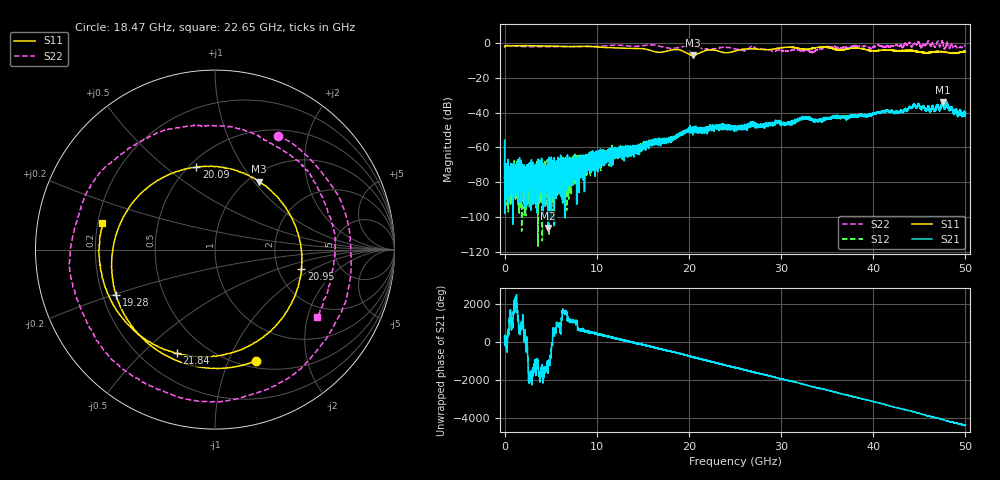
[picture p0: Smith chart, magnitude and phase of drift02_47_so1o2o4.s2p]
!Created with skrf (http://scikit-rf.org).
# Hz S RI R 50.0
!freq ReS11 ImS11 ReS21 ImS21 ReS12 ImS12 ReS22 ImS22
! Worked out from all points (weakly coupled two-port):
!   10001 points, 300 kHz to 50 GHz, reference 50 ohm
!   highest |S21| = -33.74 dB at 47.54 GHz (marker M1); lowest = -106.4 dB at 4.74 GHz (marker M2)
!   lowest |S11| = -6.9 dB at 20.42 GHz (marker M3), VSWR 2.64, Z = 55.8 + j53 ohm
!   |S11| at or under -10 dB: nowhere
!   |S22| runs from -5.3 to 1.6 dB; largest |S21 - S12| = 0.0035
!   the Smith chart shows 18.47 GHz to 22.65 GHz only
!   S11 on the Smith chart (normalised r, x): 18.47 GHz: 0.58, -1.26; 19.28 GHz: 0.26, -0.21; 20.09 GHz: 0.54, +0.64; 20.95 GHz: 2.69, -0.77; 21.84 GHz: 0.35, -0.64; 22.65 GHz: 0.22, +0.11
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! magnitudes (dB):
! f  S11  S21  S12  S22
! 300 kHz  -2.1  -55.9  -67.9  -1.3
! 255.3 MHz  -1.4  -69.9  -81.5  -1.4
! 4.095 GHz  -1.6  -85.2  -67.0  -1.9
! 4.495 GHz  -1.6  -72.0  -81.7  -2.0
! 4.74 GHz  -1.6  -106.4  -88.5  -2.0
! 8.335 GHz  -1.7  -70.4  -69.5  -1.9
! 16.67 GHz  -5.2  -56.4  -57.4  -1.5
! 18.47 GHz  -3.6  -54.3  -54.5  -2.8
! 19.28 GHz  -4.3  -51.7  -51.8  -2.1
! 20.09 GHz  -6.5  -47.5  -49.5  -1.5
! 20.42 GHz  -6.9  -51.5  -48.9  -1.7
! 20.95 GHz  -6.1  -49.7  -49.5  -2.2
! 21.84 GHz  -4.2  -49.9  -50.7  -3.5
! 22.65 GHz  -3.8  -47.6  -48.6  -3.3
! 25 GHz  -4.5  -48.6  -49.0  -3.3
! 26.11 GHz  -3.3  -48.9  -47.9  -4.3
! 26.91 GHz  -3.2  -45.3  -46.1  -1.7
! 33.34 GHz  -3.0  -43.9  -43.9  -5.2
! 34.89 GHz  -2.2  -43.0  -43.9  -2.3
! 41.67 GHz  -4.0  -38.8  -39.3  -2.2
! 47.54 GHz  -4.9  -33.7  -34.9  0.7
! 50 GHz  -4.7  -41.1  -40.2  -1.6
